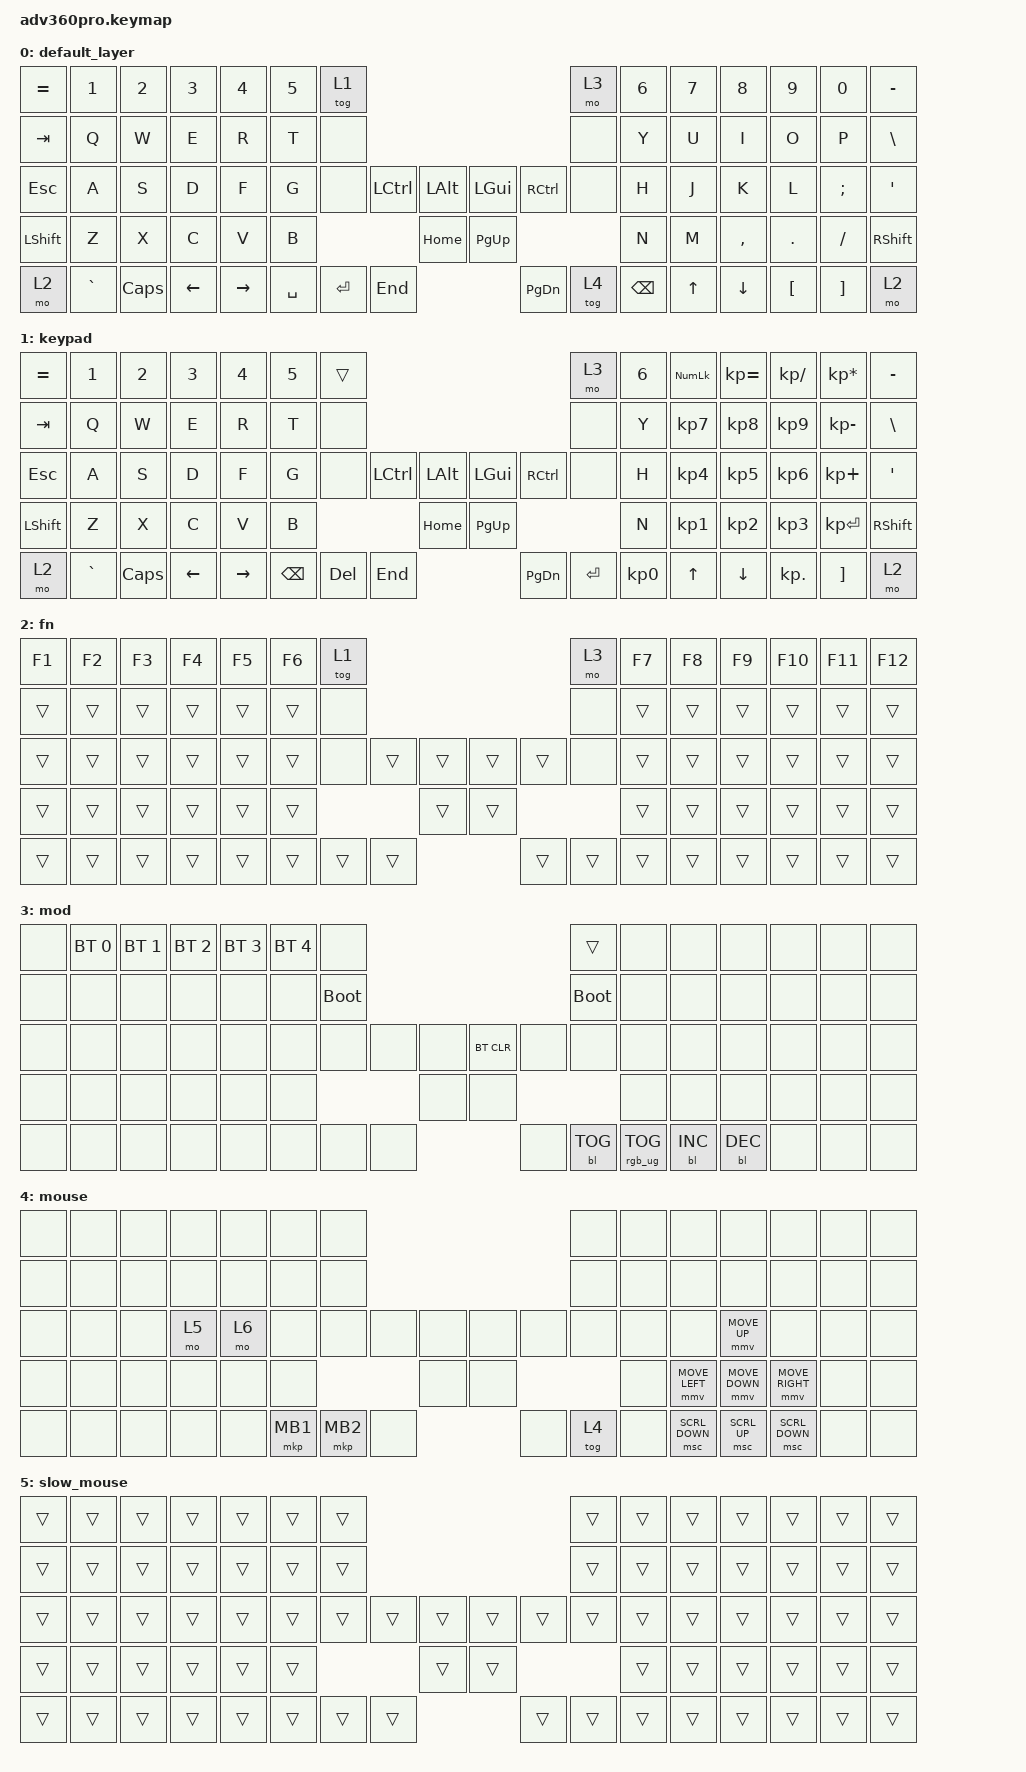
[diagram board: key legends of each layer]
#include <behaviors.dtsi>
#include <dt-bindings/zmk/keys.h>
#include <dt-bindings/zmk/bt.h>
#include <dt-bindings/zmk/rgb.h>
#include <dt-bindings/zmk/backlight.h>
#include <input/processors.dtsi>
#include <dt-bindings/zmk/pointing.h>
#define ZMK_POINTING_DEFAULT_MOVE_VAL 600  // default: 600
#define ZMK_POINTING_DEFAULT_SCRL_VAL 10   // default: 10


/ {
    keymap {
        compatible = "zmk,keymap";

        default_layer {
            bindings = <
                &kp EQUAL &kp N1    &kp N2   &kp N3   &kp N4     &kp N5 &tog 1                                                                &mo 3 &kp N6 &kp N7 &kp N8    &kp N9   &kp N0   &kp MINUS
                &kp TAB   &kp Q     &kp W    &kp E    &kp R      &kp T  &none                                                                 &none &kp Y  &kp U  &kp I     &kp O    &kp P    &kp BSLH
                &kp ESC   &kp A     &kp S    &kp D    &kp F      &kp G  &none           &kp LCTRL &kp LALT &kp LGUI  &kp RCTRL                &none &kp H  &kp J  &kp K     &kp L    &kp SEMI &kp SQT
                &kp LSHFT &kp Z     &kp X    &kp C    &kp V      &kp B                            &kp HOME &kp PG_UP                                &kp N  &kp M  &kp COMMA &kp DOT  &kp FSLH &kp RSHFT
                &mo 2     &kp GRAVE &kp CAPS &kp LEFT &kp RIGHT               &kp SPACE &kp ENTER &kp END  &kp PG_DN &tog 4 &kp BACKSPACE                  &kp UP &kp DOWN  &kp LBKT &kp RBKT &mo 2
            >;
        };
        keypad {
            bindings = <
                &kp EQUAL &kp N1    &kp N2   &kp N3   &kp N4     &kp N5 &trans                                                           &mo 3 &kp N6 &kp KP_NUM &kp KP_EQUAL &kp KP_DIVIDE &kp KP_MULTIPLY &kp MINUS
                &kp TAB   &kp Q     &kp W    &kp E    &kp R      &kp T  &none                                                            &none &kp Y  &kp KP_N7  &kp KP_N8    &kp KP_N9     &kp KP_MINUS    &kp BSLH
                &kp ESC   &kp A     &kp S    &kp D    &kp F      &kp G  &none           &kp LCTRL &kp LALT &kp LGUI  &kp RCTRL           &none &kp H  &kp KP_N4  &kp KP_N5    &kp KP_N6     &kp KP_PLUS     &kp SQT
                &kp LSHFT &kp Z     &kp X    &kp C    &kp V      &kp B                            &kp HOME &kp PG_UP                           &kp N  &kp KP_N1  &kp KP_N2    &kp KP_N3     &kp KP_ENTER    &kp RSHFT
                &mo 2     &kp GRAVE &kp CAPS &kp LEFT &kp RIGHT                &kp BSPC &kp DEL   &kp END  &kp PG_DN &kp ENTER &kp KP_N0              &kp UP     &kp DOWN     &kp KP_DOT    &kp RBKT        &mo 2
            >;
        };
        fn {
            bindings = <
                &kp F1 &kp F2 &kp F3 &kp F4 &kp F5 &kp F6 &tog 1                                           &mo 3 &kp F7 &kp F8 &kp F9 &kp F10 &kp F11 &kp F12
                &trans &trans &trans &trans &trans &trans  &none                                           &none &trans &trans &trans &trans  &trans  &trans
                &trans &trans &trans &trans &trans &trans  &none        &trans &trans &trans &trans        &none &trans &trans &trans &trans  &trans  &trans
                &trans &trans &trans &trans &trans &trans                      &trans &trans                     &trans &trans &trans &trans  &trans  &trans
                &trans &trans &trans &trans &trans               &trans &trans &trans &trans &trans &trans              &trans &trans &trans  &trans  &trans
            >;
        };
        mod {
            bindings = <
                &none &bt BT_SEL 0 &bt BT_SEL 1 &bt BT_SEL 2 &bt BT_SEL 3 &bt BT_SEL 4 &none                                                               &trans      &none &none      &none      &none &none &none
                &none &none        &none        &none        &none        &none        &bootloader                                                         &bootloader &none &none      &none      &none &none &none
                &none &none        &none        &none        &none        &none        &none             &none &none &bt BT_CLR &none                      &none       &none &none      &none      &none &none &none
                &none &none        &none        &none        &none        &none                                &none &none                                             &none &none      &none      &none &none &none
                &none &none        &none        &none        &none                                 &none &none &none &none      &bl BL_TOG &rgb_ug RGB_TOG                   &bl BL_INC &bl BL_DEC &none &none &none
            >;
        };
        mouse {
            bindings = <
                &none &none        &none        &none              &none              &none        &none                                           &none       &none &none          &none          &none           &none &none
                &none &none        &none        &none              &none              &none        &none                                           &none       &none &none          &none          &none           &none &none
                &none &none        &none        &mo 5              &mo 6              &none        &none             &none &none &none &none       &none       &none &none          &mmv MOVE_UP   &none           &none &none
                &none &none        &none        &none              &none              &none                                &none &none                         &none &mmv MOVE_LEFT &mmv MOVE_DOWN &mmv MOVE_RIGHT &none &none
                &none &none        &none        &none              &none                                 &mkp MB1 &mkp MB2 &none &none &tog 4 &none                  &msc SCRL_DOWN &msc SCRL_UP   &msc SCRL_DOWN  &none &none
            >;
        };
        slow_mouse {
            bindings = <
                &trans &trans &trans &trans &trans &trans  &trans                                          &trans &trans &trans &trans &trans  &trans  &trans
                &trans &trans &trans &trans &trans &trans  &trans                                          &trans &trans &trans &trans &trans  &trans  &trans
                &trans &trans &trans &trans &trans &trans  &trans       &trans &trans &trans &trans        &trans &trans &trans &trans &trans  &trans  &trans
                &trans &trans &trans &trans &trans &trans                      &trans &trans                      &trans &trans &trans &trans  &trans  &trans
                &trans &trans &trans &trans &trans               &trans &trans &trans &trans &trans &trans               &trans &trans &trans  &trans  &trans
            >;
       fast_mouse {
            bindings = <
                &trans &trans &trans &trans &trans &trans  &trans                                          &trans &trans &trans &trans &trans  &trans  &trans
                &trans &trans &trans &trans &trans &trans  &trans                                          &trans &trans &trans &trans &trans  &trans  &trans
                &trans &trans &trans &trans &trans &trans  &trans        &trans &trans &trans &trans       &trans &trans &trans &trans &trans  &trans  &trans
                &trans &trans &trans &trans &trans &trans                      &trans &trans                      &trans &trans &trans &trans  &trans  &trans
                &trans &trans &trans &trans &trans               &trans &trans &trans &trans &trans &trans               &trans &trans &trans  &trans  &trans
            >; 
        }; 
    };
};

&mmv_input_listener {
  input-processers = <&zip_xy_scalar 1 1>;
  slow {
    layers = <5>;
    input-processers = <&zip_xy_scalar 1 3>;
  };
  fast {
    layers = <6>;
    input-processers = <&zip_xy_scalar 3 1>;
  };
};
